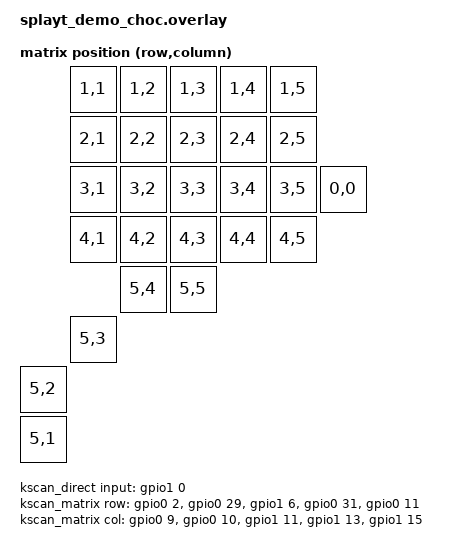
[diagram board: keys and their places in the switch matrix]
/*
 * Copyright (c) 2021 Tom Butcher
 *
 * SPDX-License-Identifier: MIT
 */

#include <dt-bindings/zmk/matrix_transform.h>
#include <dt-bindings/zmk/trackball_pim447.h> // for PIM447_MOVE and PIM447_SCROLL constants.

/ {
	chosen {
		zmk,kscan = &kscan0;
		zmk,matrix_transform = &default_transform;
	};

	kscan0: kscan_0 {
        compatible = "zmk,kscan-composite";
        label = "KSCAN_COMP";
        rows = <5>;
        columns = <5>;

        direct: direct {
            kscan = <&kscan_direct>;
        };

        matrix: matrix {
            kscan = <&kscan_matrix>;
            row-offset = <1>;
			column-offset = <1>;
        };
	};

    kscan_direct: kscan_1 {
        compatible = "zmk,kscan-gpio-direct";
        label = "KSCAN_DIRECT";

        input-gpios
            = <&gpio1 0 (GPIO_ACTIVE_LOW | GPIO_PULL_UP)>
			//, <&gpio1 6 (GPIO_ACTIVE_HIGH | GPIO_PULL_DOWN)>  // pin specifically for capacitive
            ;
    };

    kscan_matrix: kscan_2 {
        compatible = "zmk,kscan-gpio-matrix";
        label = "KSCAN_MATRIX";

        diode-direction = "row2col";
		col-gpios
			= <&gpio0 9 (GPIO_ACTIVE_HIGH | GPIO_PULL_DOWN)>
			, <&gpio0 10 (GPIO_ACTIVE_HIGH | GPIO_PULL_DOWN)>
			, <&gpio1 11 (GPIO_ACTIVE_HIGH | GPIO_PULL_DOWN)>
			, <&gpio1 13 (GPIO_ACTIVE_HIGH | GPIO_PULL_DOWN)>
			, <&gpio1 15 (GPIO_ACTIVE_HIGH | GPIO_PULL_DOWN)>
			;

		row-gpios
			= <&gpio0 2 GPIO_ACTIVE_HIGH>
			, <&gpio0 29 GPIO_ACTIVE_HIGH>
			, <&gpio1 6 GPIO_ACTIVE_HIGH>
			, <&gpio0 31 GPIO_ACTIVE_HIGH>
            , <&gpio0 11 GPIO_ACTIVE_HIGH>
			;
    };

    	default_transform: keymap_transform_0 {
		compatible = "zmk,matrix-transform";
		columns = <6>;
		rows = <0>;
// 					| RN1 | RN2 | RN3 | RN4 | RN5 |
// 					| RT1 | RT2 | RT3 | RT4 | RT5 |
// 					| RM1 | RM2 | RM3 | RM4 | RM5 | RM6 |
// 					| RB1 | RB2 | RB3 | RB4 | RB5 | Cap1 |
//    				    | RH4 | RH5 |
//	  			  | RH3 |
//   	       | RH2 |
//	  		   | RH1 |

        map = <

		//				 ╭─────────┬─────────┬─────────┬─────────┬─────────╮
          				   RC(1,1)   RC(1,2)   RC(1,3)   RC(1,4)   RC(1,5) 
        //				 ├─────────┼─────────┼─────────┼─────────┼─────────┤
          				   RC(2,1)   RC(2,2)   RC(2,3)   RC(2,4)   RC(2,5)      
        //				 ├─────────┼─────────┼─────────┼─────────┼─────────┤─────────╮
          				   RC(3,1)   RC(3,2)   RC(3,3)   RC(3,4)   RC(3,5)   RC(0,0)
        //				 ├─────────┼─────────┼─────────┼─────────┼─────────┤─────────┤
          				   RC(4,1)   RC(4,2)   RC(4,3)   RC(4,4)   RC(4,5) //RC(?,?)  
        //				 ╰─────╭───┴─────┬───┴─────╮───┴─────────┴─────────┴─────────╯
							     RC(5,4)   RC(5,5)
		//			╭──────────┼─────────┴─────────╯	
  		  			   RC(5,3)  
		//		╭───╰─────╮────╯											  
 			      RC(5,2)  
		//		├─────────┤
				  RC(5,1)
		//		╰─────────╯												  
        >;
	};
};

&pro_micro_i2c {
	status = "okay";
	trackball_pim447@a {
		compatible = "pimoroni,trackball_pim447";
		reg = <0xa>;
		label = "TRACKBALL_PIM447";

		move-factor = <2>;
		invert-move-x;
		invert-move-y;
		scroll-divisor = <2>;
		invert-scroll-x;
		invert-scroll-y;
		mode = <PIM447_SCROLL>;
	};
};
